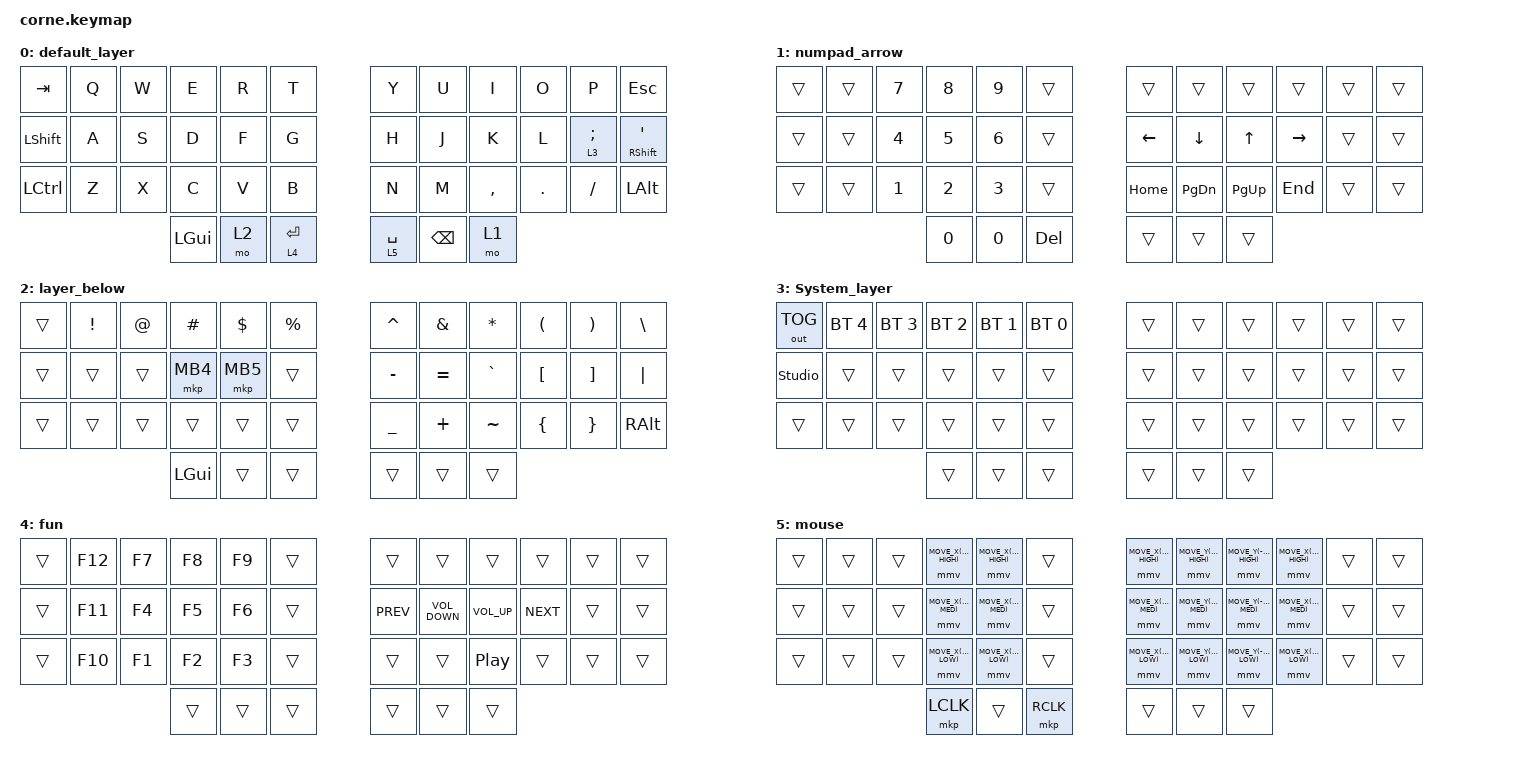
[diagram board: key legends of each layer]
/*
 * Copyright (c) 2020 The ZMK Contributors
 *
 * SPDX-License-Identifier: MIT
 */

#include <dt-bindings/zmk/mouse.h>
#include <behaviors.dtsi>
#include <dt-bindings/zmk/bt.h>
#include <dt-bindings/zmk/keys.h>
#include <dt-bindings/zmk/outputs.h>
#include <dt-bindings/zmk/pointing.h>

#define SPEED_LOW 900
#define SPEED_MED 1500
#define SPEED_HIGH 2500

&lt { tapping-term-ms = <175>; };

/ {
    behaviors {
        tp: tap_preferred {
            compatible = "zmk,behavior-hold-tap";
            label = "TAP_PREFERRED";
            #binding-cells = <2>;
            tapping-term-ms = <175>;
            quick-tap-ms = <0>;
            flavor = "tap-preferred";
            bindings = <&kp>, <&kp>;
        };

        mmv: mouse_move {
            x-input-code = <INPUT_REL_X>;
            y-input-code = <INPUT_REL_Y>;
            time-to-max-speed-ms = <0>;
            acceleration-exponent = <1>;
        };
    };

    combos {
        compatible = "zmk,combos";

        bt_clear {
            bindings = <&bt BT_CLR>;
            key-positions = <4 5 7 6>;
        };

        caps_word {
            bindings = <&caps_word>;
            key-positions = <28 31>;
        };

        capslock {
            bindings = <&kp CAPSLOCK>;
            key-positions = <32 27>;
        };

        ble {
            bindings = <&out OUT_BLE>;
            key-positions = <0 11>;
        };

        usb {
            bindings = <&out OUT_USB>;
            key-positions = <12 23>;
        };

        numpad_single_handed {
            bindings = <&mo 1>;
            key-positions = <37 38>;
        };
    };

    keymap {
        compatible = "zmk,keymap";

        default_layer {
            // -----------------------------------------------------------------------------------------
            // | TAB  |  Q  |  W  |  E  |  R  |    T    |   |  Y  |  U   |  I  |  O  |  P  | ESC |
            // | CTRL |  A  |  S  |  D  |  F  |    G    |   |  H  |  J   |  K  |  L  |  ;  |  '   |
            // | SHFT |  Z  |  X  |  C  |  V  |    B    |   |  N  |  M   |  ,  |  .  |  /  | LALT |
            //                    | GUI | LWR | ALT/ENT |   | HYPER/SPC | BKSP  | RSE |

            bindings = <
&kp TAB         &kp Q  &kp W  &kp E     &kp R  &kp T          &kp Y        &kp U          &kp I      &kp O    &kp P            &kp ESC
&kp LEFT_SHIFT  &kp A  &kp S  &kp D     &kp F  &kp G          &kp H        &kp J          &kp K      &kp L    &lt 3 SEMICOLON  &tp RIGHT_SHIFT SQT
&kp LCTRL       &kp Z  &kp X  &kp C     &kp V  &kp B          &kp N        &kp M          &kp COMMA  &kp DOT  &kp FSLH         &kp LEFT_ALT
                              &kp LGUI  &mo 2  &lt 4 ENTER    &lt 5 SPACE  &kp BACKSPACE  &mo 1
            >;
        };

        numpad_arrow {
            // -----------------------------------------------------------------------------------------
            // |       |  F1  |  F2  |  F3  |  F4  |  F5 |            |  F6  |  F7  |  F8  |  F9  |  F10  |   |
            // |       | Prev | Next | Vol - | Vol + | Play/Pause |   |      | LFT | DWN |  UP | RGT |     |     |
            // | BTCLR | BT1 | BT2 | BT3 | BT4 | BT5 |   |            |     |     |     |     |     |     |
            //                    |     |     |    |                  |     |     |     |

            bindings = <
&trans  &trans  &kp N7        &kp N8        &kp N9        &trans     &trans    &trans         &trans        &trans     &trans  &trans
&trans  &trans  &kp NUMBER_4  &kp N5        &kp NUMBER_6  &trans     &kp LEFT  &kp DOWN       &kp UP_ARROW  &kp RIGHT  &trans  &trans
&trans  &trans  &kp NUMBER_1  &kp NUMBER_2  &kp NUMBER_3  &trans     &kp HOME  &kp PAGE_DOWN  &kp PAGE_UP   &kp END    &trans  &trans
                              &kp N0        &kp NUMBER_0  &kp DEL    &trans    &trans         &trans
            >;
        };

        layer_below {
            // -----------------------------------------------------------------------------------------
            // |      |  !  |  @  |  #  |  $  |    %     |   |  ^  |  &  |  *  |  (  |  )  |   \   |
            // |      |  1  |  2  |  3  |  4  |    5     |   |  -  |  =  |  `  |  [  |  ]  |  "|"  |
            // | SHFT |  6  |  7  |  8  |  9  |    0     |   |  _  |  +  |  ~  |  {  |  }  | RALT |
            //                     | GUI |     | ALT/ENT |   | HYPER/SPACE | BKSP |    |

            bindings = <
&trans  &kp EXCL  &kp AT  &kp HASH  &kp DLLR  &kp PRCNT    &kp CARET  &kp AMPS   &kp ASTERISK  &kp LPAR  &kp RPAR  &kp BSLH
&trans  &trans    &trans  &mkp MB4  &mkp MB5  &trans       &kp MINUS  &kp EQUAL  &kp GRAVE     &kp LBKT  &kp RBKT  &kp PIPE
&trans  &trans    &trans  &trans    &trans    &trans       &kp UNDER  &kp PLUS   &kp TILDE     &kp LBRC  &kp RBRC  &kp RIGHT_ALT
                          &kp LGUI  &trans    &trans       &trans     &trans     &trans
            >;
        };

        System_layer {
            bindings = <
&out OUT_TOG    &bt BT_SEL 4  &bt BT_SEL 3  &bt BT_SEL 2  &bt BT_SEL 1  &bt BT_SEL 0    &trans  &trans  &trans  &trans  &trans  &trans
&studio_unlock  &trans        &trans        &trans        &trans        &trans          &trans  &trans  &trans  &trans  &trans  &trans
&trans          &trans        &trans        &trans        &trans        &trans          &trans  &trans  &trans  &trans  &trans  &trans
                                            &trans        &trans        &trans          &trans  &trans  &trans
            >;
        };

        fun {
            bindings = <
&trans  &kp F12  &kp F7  &kp F8  &kp F9  &trans    &trans      &trans             &trans            &trans      &trans  &trans
&trans  &kp F11  &kp F4  &kp F5  &kp F6  &trans    &kp C_PREV  &kp C_VOLUME_DOWN  &kp C_VOLUME_UP   &kp C_NEXT  &trans  &trans
&trans  &kp F10  &kp F1  &kp F2  &kp F3  &trans    &trans      &trans             &kp C_PLAY_PAUSE  &trans      &trans  &trans
                         &trans  &trans  &trans    &trans      &trans             &trans
            >;
        };

        mouse {
            bindings = <
&trans  &trans  &trans  &mmv MOVE_X(-SPEED_HIGH)  &mmv MOVE_X(SPEED_HIGH)  &trans       &mmv MOVE_X(-SPEED_HIGH)  &mmv MOVE_Y(SPEED_HIGH)  &mmv MOVE_Y(-SPEED_HIGH)  &mmv MOVE_X(SPEED_HIGH)  &trans  &trans
&trans  &trans  &trans  &mmv MOVE_X(-SPEED_MED)   &mmv MOVE_X(SPEED_MED)   &trans       &mmv MOVE_X(-SPEED_MED)   &mmv MOVE_Y(SPEED_MED)   &mmv MOVE_Y(-SPEED_MED)   &mmv MOVE_X(SPEED_MED)   &trans  &trans
&trans  &trans  &trans  &mmv MOVE_X(-SPEED_LOW)   &mmv MOVE_X(SPEED_LOW)   &trans       &mmv MOVE_X(-SPEED_LOW)   &mmv MOVE_Y(SPEED_LOW)   &mmv MOVE_Y(-SPEED_LOW)   &mmv MOVE_X(SPEED_LOW)   &trans  &trans
                        &mkp LCLK                 &trans                   &mkp RCLK    &trans                    &trans                   &trans
            >;
        };
    };
};
